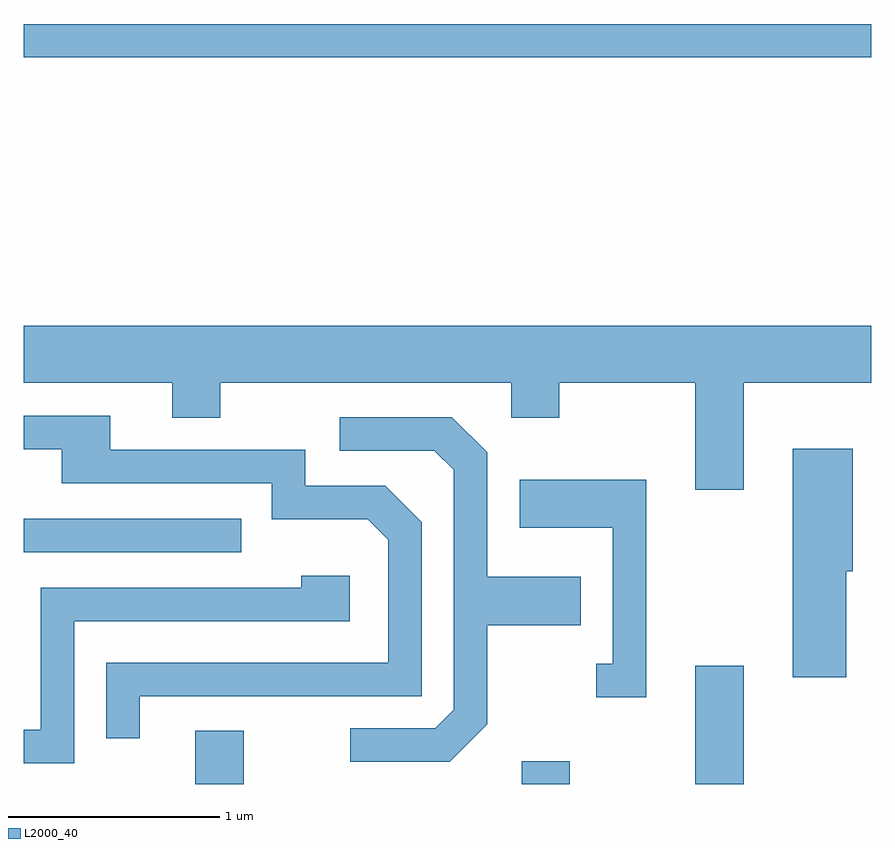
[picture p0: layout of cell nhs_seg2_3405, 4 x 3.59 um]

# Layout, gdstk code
import gdstk
lib = gdstk.Library(unit=1e-6, precision=1e-09)
def R(c, l, rs):  # rectangles x0, y0, x1, y1
    for r in rs: c.add(gdstk.rectangle(r[:2], r[2:], *l))
def P(c, l, *ps):  # polygons
    for p in ps: c.add(gdstk.Polygon(p, *l))
L2000_40 = (2000, 40)

nhs_seg2_3405 = lib.new_cell('nhs_seg2_3405')
R(nhs_seg2_3405, L2000_40, [(286.421,999.802,286.649,1000.054), (287.961,999.802,288.189,999.909), (288.781,999.802,289.009,1000.359), (285.611,1000.896,286.638,1001.054), (285.611,1003.231,289.611,1003.389)])
P(nhs_seg2_3405, L2000_40, [(289.009,1001.696),(289.611,1001.696),(289.611,1001.964),(285.611,1001.964),(285.611,1001.696),(286.311,1001.696),(286.311,1001.531),(286.539,1001.531),(286.539,1001.696),(287.911,1001.696),(287.911,1001.531),(288.139,1001.531),(288.139,1001.696),(288.781,1001.696),(288.781,1001.191),(289.009,1001.191)],
  [(286.159,1000.216),(287.489,1000.216),(287.489,1001.037),(287.317,1001.209),(286.939,1001.209),(286.939,1001.379),(286.019,1001.379),(286.019,1001.539),(285.611,1001.539),(285.611,1001.381),(285.791,1001.381),(285.791,1001.221),(286.781,1001.221),(286.781,1001.051),(287.234,1001.051),(287.331,1000.954),(287.331,1000.374),(286.001,1000.374),(286.001,1000.018),(286.159,1000.018)],
  [(287.799,1000.084),(287.799,1000.551),(288.239,1000.551),(288.239,1000.779),(287.799,1000.779),(287.799,1001.367),(287.632,1001.534),(287.103,1001.534),(287.103,1001.376),(287.549,1001.376),(287.641,1001.284),(287.641,1000.152),(287.554,1000.064),(287.153,1000.064),(287.153,999.906),(287.622,999.906)],
  [(289.494,1000.806),(289.524,1000.806),(289.524,1001.384),(289.241,1001.384),(289.241,1000.306),(289.494,1000.306)],
  [(288.549,1001.239),(287.951,1001.239),(287.951,1001.011),(288.391,1001.011),(288.391,1000.369),(288.313,1000.369),(288.313,1000.211),(288.549,1000.211)],
  [(285.849,1000.571),(287.149,1000.571),(287.149,1000.784),(286.921,1000.784),(286.921,1000.729),(285.691,1000.729),(285.691,1000.059),(285.611,1000.059),(285.611,999.901),(285.849,999.901)])

lib.write_gds('nhs_seg2_3405.gds')
